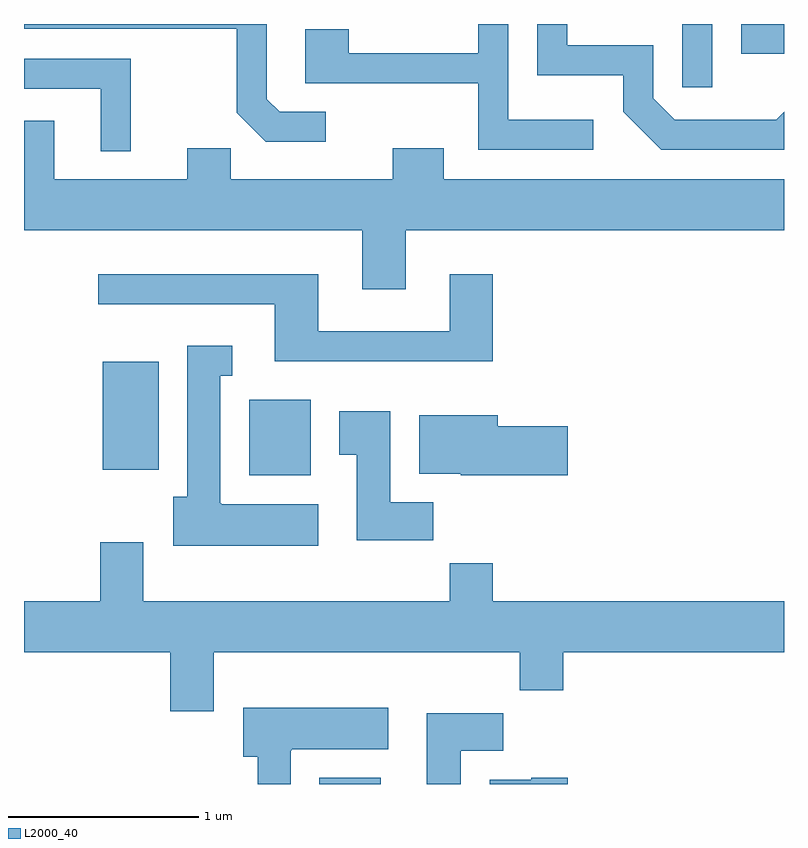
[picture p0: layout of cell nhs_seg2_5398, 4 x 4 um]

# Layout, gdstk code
import gdstk
lib = gdstk.Library(unit=1e-6, precision=1e-09)
def R(c, l, rs):  # rectangles x0, y0, x1, y1
    for r in rs: c.add(gdstk.rectangle(r[:2], r[2:], *l))
def P(c, l, *ps):  # polygons
    for p in ps: c.add(gdstk.Polygon(p, *l))
L2000_40 = (2000, 40)

nhs_seg2_5398 = lib.new_cell('nhs_seg2_5398')
R(nhs_seg2_5398, L2000_40, [(345.166,1089.802,345.489,1089.834), (344.796,1091.426,345.119,1091.824), (344.026,1091.456,344.319,1092.024), (347.076,1093.468,347.234,1093.802), (347.386,1093.646,347.611,1093.802)])
P(nhs_seg2_5398, L2000_40, [(346.608,1093.299),(346.159,1093.299),(346.159,1093.802),(346.001,1093.802),(346.001,1093.649),(345.319,1093.649),(345.319,1093.774),(345.091,1093.774),(345.091,1093.491),(346.001,1093.491),(346.001,1093.141),(346.608,1093.141)],
  [(345.198,1093.339),(344.957,1093.339),(344.889,1093.407),(344.889,1093.802),(343.611,1093.802),(343.611,1093.776),(344.731,1093.776),(344.731,1093.334),(344.884,1093.181),(345.198,1093.181)],
  [(347.611,1093.341),(347.569,1093.299),(347.037,1093.299),(346.924,1093.412),(346.924,1093.689),(346.469,1093.689),(346.469,1093.802),(346.311,1093.802),(346.311,1093.531),(346.766,1093.531),(346.766,1093.339),(346.964,1093.141),(347.611,1093.141)],
  [(344.174,1093.619),(343.611,1093.619),(343.611,1093.461),(344.016,1093.461),(344.016,1093.133),(344.174,1093.133)],
  [(344.471,1093.149),(344.471,1092.984),(343.769,1092.984),(343.769,1093.294),(343.611,1093.294),(343.611,1092.716),(345.391,1092.716),(345.391,1092.406),(345.619,1092.406),(345.619,1092.716),(347.611,1092.716),(347.611,1092.984),(345.819,1092.984),(345.819,1093.149),(345.551,1093.149),(345.551,1092.984),(344.699,1092.984),(344.699,1093.149)],
  [(346.079,1092.484),(345.851,1092.484),(345.851,1092.184),(345.159,1092.184),(345.159,1092.484),(344.003,1092.484),(344.003,1092.326),(344.931,1092.326),(344.931,1092.026),(346.079,1092.026)],
  [(345.159,1091.274),(344.65,1091.274),(344.65,1091.28),(344.644,1091.28),(344.644,1091.951),(344.708,1091.951),(344.708,1092.109),(344.471,1092.109),(344.471,1091.314),(344.396,1091.314),(344.396,1091.056),(345.159,1091.056)],
  [(345.764,1091.284),(345.539,1091.284),(345.539,1091.764),(345.271,1091.764),(345.271,1091.536),(345.361,1091.536),(345.361,1091.086),(345.764,1091.086)],
  [(346.474,1091.684),(346.104,1091.684),(346.104,1091.744),(345.691,1091.744),(345.691,1091.436),(345.91,1091.436),(345.91,1091.426),(346.474,1091.426)],
  [(344.609,1090.496),(346.221,1090.496),(346.221,1090.296),(346.449,1090.296),(346.449,1090.496),(347.611,1090.496),(347.611,1090.764),(346.079,1090.764),(346.079,1090.964),(345.851,1090.964),(345.851,1090.764),(344.239,1090.764),(344.239,1091.074),(344.011,1091.074),(344.011,1090.764),(343.611,1090.764),(343.611,1090.496),(344.381,1090.496),(344.381,1090.186),(344.609,1090.186)],
  [(345.014,1089.98),(345.02,1089.98),(345.02,1089.986),(345.529,1089.986),(345.529,1090.204),(344.766,1090.204),(344.766,1089.946),(344.841,1089.946),(344.841,1089.802),(345.014,1089.802)],
  [(345.909,1089.976),(346.134,1089.976),(346.134,1090.174),(345.731,1090.174),(345.731,1089.802),(345.909,1089.802)],
  [(346.474,1089.834),(346.28,1089.834),(346.28,1089.824),(346.061,1089.824),(346.061,1089.802),(346.474,1089.802)])

lib.write_gds('nhs_seg2_5398.gds')
